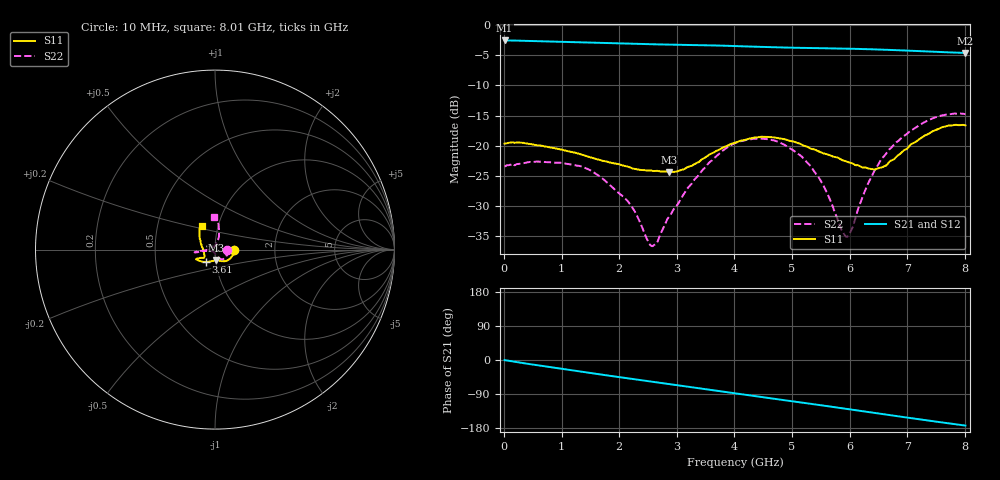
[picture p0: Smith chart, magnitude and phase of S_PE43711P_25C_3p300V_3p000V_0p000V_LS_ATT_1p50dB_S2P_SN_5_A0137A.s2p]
! Device ID: PE43711P
! File Path: z:\PE43711P\CHAR_NOM_04282014\AMB\3p300\LS_ATT_1p50dB\PE43711P_AMB_3p300V_3p000V_0p000V_LS_ATT_1p50dB_S2P_SN_5_A0137A.s2p
! Serial: 5
! Lot: A0137A
! Temp: 25C
! VDD: 3.300
! VSS: 0.000
! Control_Hi: 3.000
! Control_Lo: 0.000
! Attenuation Step: 1.50dB
! Port 1: RF1
! Port 2: RF2
! ThroughPath:1-2
! IDD: 0.0001275108
! ISS: -9.22e-008
#  Hz  S  RI  R  50
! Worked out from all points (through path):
!   801 points, 10 MHz to 8.01 GHz, reference 50 ohm
!   highest |S21| = -2.55 dB at 10 MHz (marker M1); lowest = -4.6 dB at 8.01 GHz (marker M2)
!   group delay of S21, straight-line fit = 59.5 ps
!   lowest |S11| = -24.4 dB at 2.86 GHz (marker M3), VSWR 1.13, Z = 50.2 - j6.06 ohm
!   |S11| at or under -10 dB: start of sweep to end of sweep
!   |S22| runs from -36.7 to -14.7 dB; largest |S21 - S12| = 0.001
!   S11 on the Smith chart (normalised r, x): 10 MHz: 1.23, -0.00; 3.61 GHz: 0.89, -0.12; 8.01 GHz: 0.84, +0.22
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1e7  0.1039 -0.00055  0.7459 -0.0037  0.7462 -0.00401  0.0675 -0.000492
5.8e8  0.0918 -0.0412  0.7132 -0.1775  0.7133 -0.1775  0.0648 -0.0352
1.35e9  0.0532 -0.0652  0.6144 -0.371  0.6147 -0.3711  0.0384 -0.055
2.13e9  0.0255 -0.0623  0.4691 -0.5211  0.4694 -0.5214  0.00596 -0.035
2.28e9  0.0228 -0.0598  0.4374 -0.5439  0.4378 -0.5442  0.0029 -0.0277
2.54e9  0.0185 -0.0595  0.3812 -0.5794  0.3815 -0.5796  -0.00618 -0.0136
2.68e9  0.0143 -0.0599  0.3502 -0.5964  0.3505 -0.5967  -0.0137 -0.00953
2.86e9  0.00553 -0.0601  0.309 -0.6165  0.309 -0.6168  -0.0241 -0.00854
3.2e9  -0.0166 -0.0646  0.226 -0.6459  0.2263 -0.6463  -0.0446 -0.00612
3.61e9  -0.0512 -0.0692  0.1234 -0.6664  0.1236 -0.6673  -0.0751 -0.00687
4.01e9  -0.0848 -0.0629  0.0215 -0.6701  0.0212 -0.6706  -0.104 -0.0126
4.7e9  -0.1045 -0.0524  -0.1435 -0.6397  -0.1435 -0.6397  -0.109 -0.0157
5.14e9  -0.0916 -0.0485  -0.2401 -0.6013  -0.2406 -0.6019  -0.0825 -0.0111
5.35e9  -0.0819 -0.0454  -0.2844 -0.5789  -0.2847 -0.5796  -0.0641 -0.00857
5.58e9  -0.0721 -0.0457  -0.3314 -0.5505  -0.3314 -0.5504  -0.0433 -0.00268
5.87e9  -0.0614 -0.0445  -0.3865 -0.5079  -0.387 -0.5082  -0.017 0.00979
5.96e9  -0.0599 -0.0424  -0.4032 -0.4934  -0.4031 -0.4937  -0.0092 0.015
6.04e9  -0.0593 -0.0399  -0.4178 -0.4803  -0.4181 -0.4801  -0.00288 0.0202
6.34e9  -0.0608 -0.021  -0.4655 -0.4257  -0.4657 -0.4262  0.015 0.0484
6.68e9  -0.0712 0.0134  -0.5105 -0.3576  -0.5103 -0.3579  0.0221 0.0896
7.37e9  -0.0862 0.091  -0.5667 -0.2078  -0.5667 -0.208  0.0149 0.1624
8.01e9  -0.07 0.1294  -0.5839 -0.071  -0.5842 -0.0702  -0.00748 0.1825
